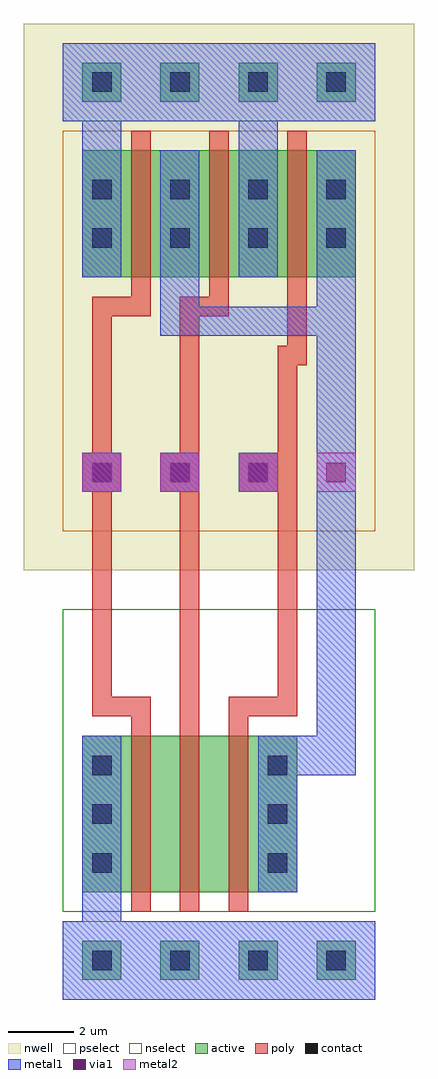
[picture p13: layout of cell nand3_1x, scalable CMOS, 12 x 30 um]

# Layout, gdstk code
import gdstk
lib = gdstk.Library(unit=1e-6, precision=1e-09)
def R(c, l, rs):  # rectangles x0, y0, x1, y1
    for r in rs: c.add(gdstk.rectangle(r[:2], r[2:], *l))
def A(c, l, x, y, w, h, nx, ny, dx, dy):  # array of equal rectangles
    R(c, l, [(x+i*dx, y+j*dy, x+i*dx+w, y+j*dy+h) for i in range(nx) for j in range(ny)])
def P(c, l, *ps):  # polygons
    for p in ps: c.add(gdstk.Polygon(p, *l))
contact = (25, 0)
nwell = (42, 0)
active = (43, 0)
pselect = (44, 0)
nselect = (45, 0)
poly = (46, 0)
metal1 = (49, 0)
via1 = (50, 0)
metal2 = (51, 0)

nand3_1x = lib.new_cell('nand3_1x')
A(nand3_1x, contact, 0.9, -0.3, 0.6, 0.6, 4, 2, 2.4, 22.2)
A(nand3_1x, contact, 0.9, 2.7, 0.6, 0.6, 1, 3, 0, 1.5)
A(nand3_1x, contact, 6.3, 2.7, 0.6, 0.6, 1, 3, 0, 1.5)
A(nand3_1x, contact, 0.9, 14.7, 0.6, 0.6, 3, 1, 2.4, 0)
A(nand3_1x, contact, 0.9, 23.4, 0.6, 0.6, 4, 2, 2.4, 3.3)
R(nand3_1x, nwell, [(-1.2,12,10.8,28.8)])
A(nand3_1x, active, 0.6, -0.6, 1.2, 1.2, 4, 2, 2.4, 27)
R(nand3_1x, active, [(0.6,2.1,7.2,6.9), (0.6,21,9,24.9)])
R(nand3_1x, pselect, [(0,-1.2,9.6,1.2), (0,13.2,9.6,25.5)])
R(nand3_1x, nselect, [(0,1.5,9.6,10.8), (0,25.8,9.6,28.2)])
A(nand3_1x, poly, 0.6, 14.4, 1.2, 1.2, 3, 1, 2.4, 0)
P(nand3_1x, poly, [(2.7,8.1),(1.5,8.1),(1.5,19.8),(2.7,19.8),(2.7,25.5),(2.1,25.5),(2.1,20.4),(0.9,20.4),(0.9,7.5),(2.1,7.5),(2.1,1.5),(2.7,1.5)],
  [(5.1,25.5),(4.5,25.5),(4.5,20.4),(3.6,20.4),(3.6,1.5),(4.2,1.5),(4.2,19.8),(5.1,19.8)],
  [(7.5,25.5),(6.9,25.5),(6.9,18.9),(6.6,18.9),(6.6,8.1),(5.1,8.1),(5.1,1.5),(5.7,1.5),(5.7,7.5),(7.2,7.5),(7.2,18.3),(7.5,18.3)])
A(nand3_1x, metal1, 0.6, 14.4, 1.2, 1.2, 3, 1, 2.4, 0)
R(nand3_1x, metal1, [(0,-1.2,9.6,1.2), (0,25.8,9.6,28.2)])
P(nand3_1x, metal1, [(9,24.9),(7.8,24.9),(7.8,20.1),(4.2,20.1),(4.2,24.9),(3,24.9),(3,19.2),(7.8,19.2),(7.8,6.9),(6,6.9),(6,2.1),(7.2,2.1),(7.2,5.7),(9,5.7)],
  [(9.6,28.2),(0,28.2),(0,25.8),(0.6,25.8),(0.6,21),(1.8,21),(1.8,25.8),(5.4,25.8),(5.4,21),(6.6,21),(6.6,25.8),(9.6,25.8)],
  [(9.6,1.2),(1.8,1.2),(1.8,6.9),(0.6,6.9),(0.6,1.2),(0,1.2),(0,-1.2),(9.6,-1.2)])
A(nand3_1x, via1, 0.9, 14.7, 0.6, 0.6, 4, 1, 2.4, 0)
A(nand3_1x, metal2, 0.6, 14.4, 1.2, 1.2, 4, 1, 2.4, 0)

lib.write_gds('nand3_1x.gds')
